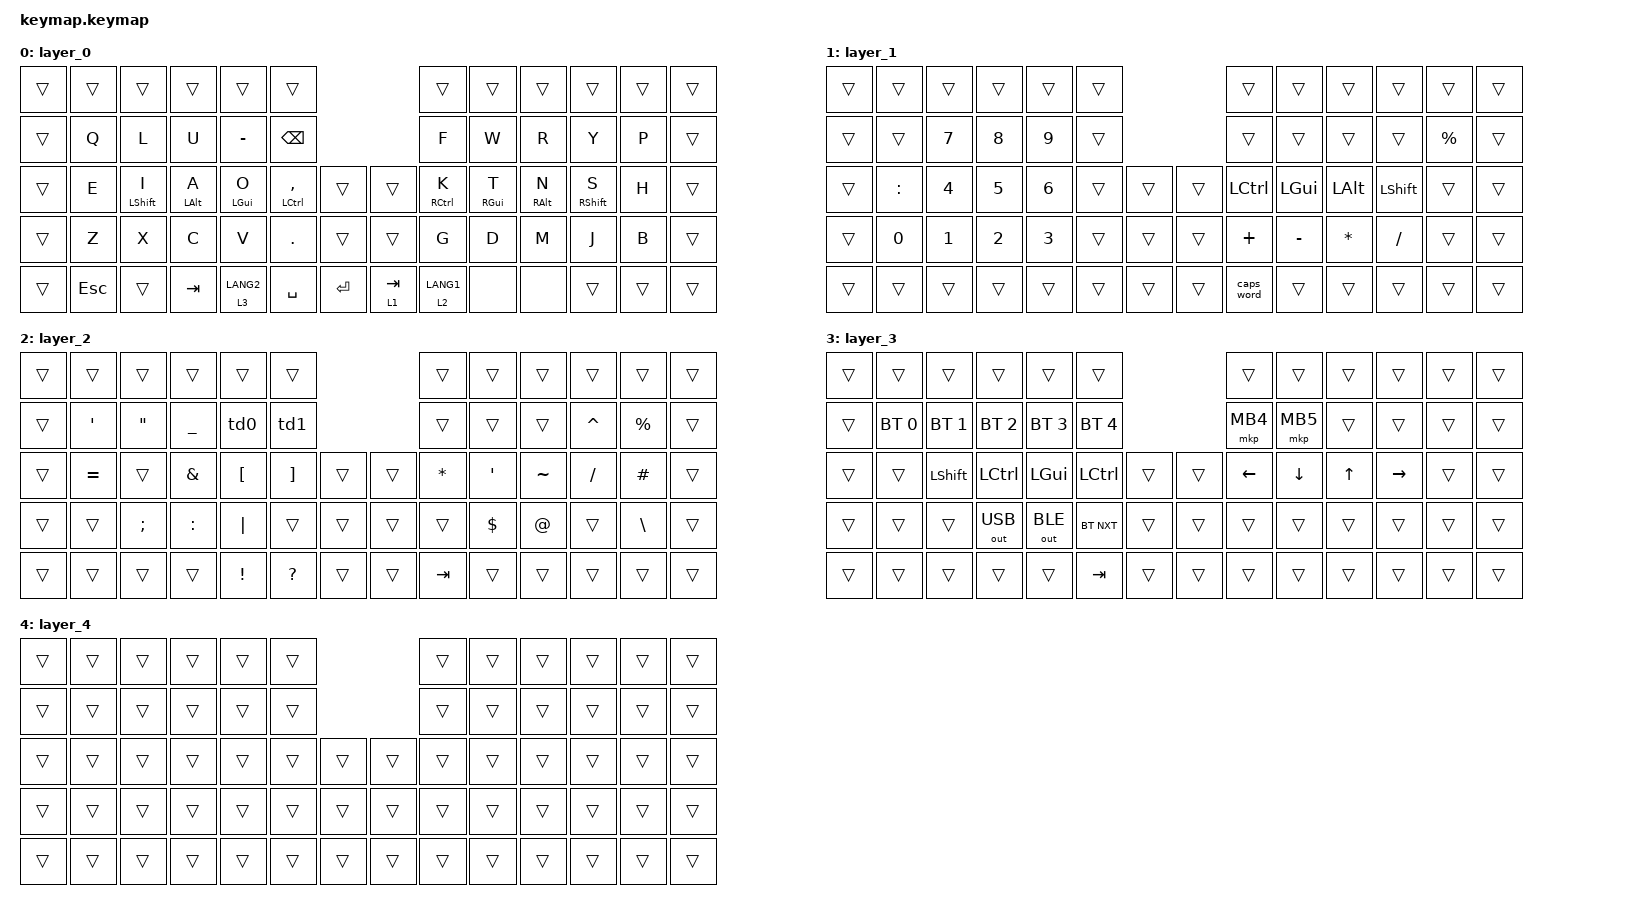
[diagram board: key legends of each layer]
// tsuki-keymap-bench: combo / hold-trigger positions use the S layout numbering
#include <behaviors.dtsi>
#include <dt-bindings/zmk/bt.h>
#include <dt-bindings/zmk/keys.h>
#include <dt-bindings/zmk/outputs.h>
#include <dt-bindings/zmk/pointing.h>

/ {
    behaviors {
        td0: tap_dance_0 {
            compatible = "zmk,behavior-tap-dance";
            display-name = "TD0";
            #binding-cells = <0>;
            tapping-term-ms = <200>;
            bindings = <&kp LPAR>, <&kp LT>;
        };

        td1: tap_dance_1 {
            compatible = "zmk,behavior-tap-dance";
            display-name = "TD1";
            #binding-cells = <0>;
            tapping-term-ms = <200>;
            bindings = <&kp RPAR>, <&kp GT>;
        };

        hml: homerow_mods_left {
            compatible = "zmk,behavior-hold-tap";
            display-name = "HRM 左手";
            #binding-cells = <2>;
            flavor = "balanced";
            tapping-term-ms = <280>;
            quick-tap-ms = <175>;
            require-prior-idle-ms = <150>;
            hold-trigger-key-positions = <5 6 7 8 9 15 16 17 18 19 26 27 28 29 30 31 35 36 37 38 39 40 41 42 43>;
            hold-trigger-on-release;
            bindings = <&kp>, <&kp>;
        };

        hmr: homerow_mods_right {
            compatible = "zmk,behavior-hold-tap";
            display-name = "HRM 右手";
            #binding-cells = <2>;
            flavor = "balanced";
            tapping-term-ms = <280>;
            quick-tap-ms = <175>;
            require-prior-idle-ms = <150>;
            hold-trigger-key-positions = <0 1 2 3 4 10 11 12 13 14 20 21 22 23 24 25 32 33 34 35 36 37 38 39 40>;
            hold-trigger-on-release;
            bindings = <&kp>, <&kp>;
        };
    };

    combos {
        compatible = "zmk,combos";

        combo_1 {
            timeout-ms = <50>;
            key-positions = <22 23>;
            bindings = <&mkp LCLK>;
        };

        combo_2 {
            timeout-ms = <40>;
            key-positions = <28 29>;
            bindings = <&mkp RCLK>;
        };

    };

    keymap {
        compatible = "zmk,keymap";

        layer_0 {
            display-name = "layer_0";
            bindings = <
&trans  &trans   &trans        &trans       &trans       &trans                                &trans        &trans       &trans       &trans        &trans  &trans
&trans  &kp Q    &kp L         &kp U        &kp MINUS    &kp BSPC                              &kp F         &kp W        &kp R        &kp Y         &kp P   &trans
&trans  &kp E    &hml LSHFT I  &hml LALT A  &hml LGUI O  &hml LCTRL COMMA  &trans   &trans     &hmr RCTRL K  &hmr RGUI T  &hmr RALT N  &hmr RSHFT S  &kp H   &trans
&trans  &kp Z    &kp X         &kp C        &kp V        &kp DOT           &trans   &trans     &kp G         &kp D        &kp M        &kp J         &kp B   &trans
&trans  &kp ESC  &trans        &kp TAB      &lt 3 LANG2  &kp SPACE         &kp RET  &lt 1 TAB  &lt 2 LANG1   &none        &none        &trans        &trans  &trans
            >;
        };

        layer_1 {
            display-name = "layer_1";
            bindings = <
&trans  &trans     &trans  &trans  &trans  &trans                  &trans      &trans     &trans    &trans     &trans     &trans
&trans  &trans     &kp N7  &kp N8  &kp N9  &trans                  &trans      &trans     &trans    &trans     &kp PRCNT  &trans
&trans  &kp COLON  &kp N4  &kp N5  &kp N6  &trans  &trans  &trans  &kp LCTRL   &kp LGUI   &kp LALT  &kp LSHFT  &trans     &trans
&trans  &kp N0     &kp N1  &kp N2  &kp N3  &trans  &trans  &trans  &kp PLUS    &kp MINUS  &kp STAR  &kp FSLH   &trans     &trans
&trans  &trans     &trans  &trans  &trans  &trans  &trans  &trans  &caps_word  &trans     &trans    &trans     &trans     &trans
            >;
        };

        layer_2 {
            display-name = "layer_2";
            bindings = <
&trans  &trans     &trans    &trans     &trans    &trans                     &trans    &trans    &trans     &trans     &trans     &trans
&trans  &kp SQT    &kp DQT   &kp UNDER  &td0      &td1                       &trans    &trans    &trans     &kp CARET  &kp PRCNT  &trans
&trans  &kp EQUAL  &trans    &kp AMPS   &kp LBKT  &kp RBKT   &trans  &trans  &kp STAR  &kp SQT   &kp TILDE  &kp FSLH   &kp HASH   &trans
&trans  &trans     &kp SEMI  &kp COLON  &kp PIPE  &trans     &trans  &trans  &trans    &kp DLLR  &kp AT     &trans     &kp BSLH   &trans
&trans  &trans     &trans    &trans     &kp EXCL  &kp QMARK  &trans  &trans  &kp TAB   &trans    &trans     &trans     &trans     &trans
            >;
        };

        layer_3 {
            display-name = "layer_3";
            bindings = <
&trans  &trans        &trans        &trans        &trans        &trans                        &trans    &trans    &trans  &trans     &trans  &trans
&trans  &bt BT_SEL 0  &bt BT_SEL 1  &bt BT_SEL 2  &bt BT_SEL 3  &bt BT_SEL 4                  &mkp MB4  &mkp MB5  &trans  &trans     &trans  &trans
&trans  &trans        &kp LSHFT     &kp LCTRL     &kp LGUI      &kp LCTRL     &trans  &trans  &kp LEFT  &kp DOWN  &kp UP  &kp RIGHT  &trans  &trans
&trans  &trans        &trans        &out OUT_USB  &out OUT_BLE  &bt BT_NXT    &trans  &trans  &trans    &trans    &trans  &trans     &trans  &trans
&trans  &trans        &trans        &trans        &trans        &kp TAB       &trans  &trans  &trans    &trans    &trans  &trans     &trans  &trans
            >;
        };

        layer_4 {
            display-name = "layer_4";
            bindings = <
&trans  &trans  &trans  &trans  &trans  &trans                  &trans  &trans  &trans  &trans  &trans  &trans
&trans  &trans  &trans  &trans  &trans  &trans                  &trans  &trans  &trans  &trans  &trans  &trans
&trans  &trans  &trans  &trans  &trans  &trans  &trans  &trans  &trans  &trans  &trans  &trans  &trans  &trans
&trans  &trans  &trans  &trans  &trans  &trans  &trans  &trans  &trans  &trans  &trans  &trans  &trans  &trans
&trans  &trans  &trans  &trans  &trans  &trans  &trans  &trans  &trans  &trans  &trans  &trans  &trans  &trans
            >;
        };

    };
};
